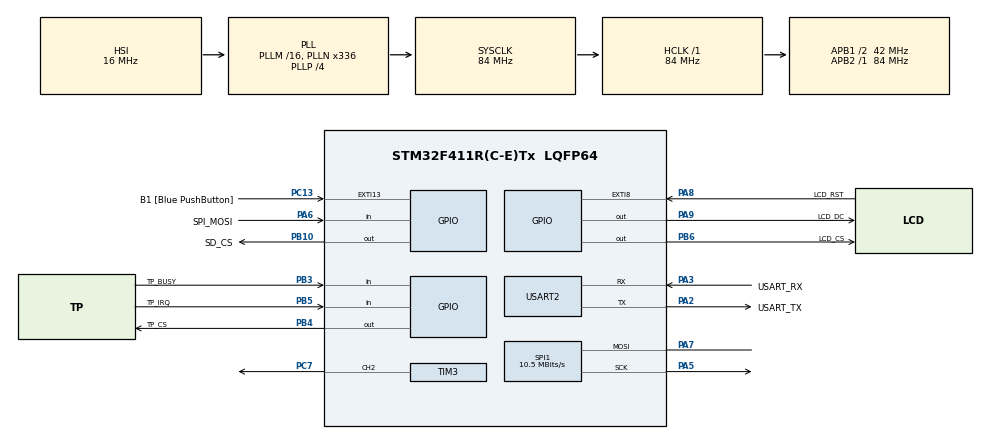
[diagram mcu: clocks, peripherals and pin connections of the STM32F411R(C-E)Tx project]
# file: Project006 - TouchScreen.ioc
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FATFS._MAX_SS=512
FATFS._USE_LFN=0
Mcu.Family=STM32F4
Mcu.Name=STM32F411R(C-E)Tx
Mcu.Package=LQFP64
NVIC.PriorityGroup=NVIC_PRIORITYGROUP_0
PA13.GPIO_Label=TMS
PA13.Mode=Serial_Wire
PA13.Signal=SYS_JTMS-SWDIO
PA14.GPIO_Label=TCK
PA14.Mode=Serial_Wire
PA14.Signal=SYS_JTCK-SWCLK
PA2.GPIO_Label=USART_TX
PA2.Mode=Asynchronous
PA2.Signal=USART2_TX
PA3.GPIO_Label=USART_RX
PA3.Mode=Asynchronous
PA3.Signal=USART2_RX
PA5.GPIO_Speed=GPIO_SPEED_FREQ_HIGH
PA5.Mode=Simplex_Bidirectional_Master
PA5.Signal=SPI1_SCK
PA6.GPIO_Label=SPI_MOSI
PA6.Signal=GPIO_Input
PA7.GPIO_Speed=GPIO_SPEED_FREQ_HIGH
PA7.Mode=Simplex_Bidirectional_Master
PA7.Signal=SPI1_MOSI
PA8.GPIO_Label=LCD_RST
PA8.Signal=GPXTI8
PA9.GPIO_Label=LCD_DC
PA9.Signal=GPIO_Output
PB10.GPIO_Label=SD_CS
PB10.PinState=GPIO_PIN_SET
PB10.Signal=GPIO_Output
PB3.GPIO_Label=TP_BUSY
PB3.Signal=GPIO_Input
PB4.GPIO_Label=TP_CS
PB4.Signal=GPIO_Output
PB5.GPIO_Label=TP_IRQ
PB5.Signal=GPIO_Input
PB6.GPIO_Label=LCD_CS
PB6.Signal=GPIO_Output
PC13-ANTI_TAMP.GPIO_Label=B1 [Blue PushButton]
PC13-ANTI_TAMP.GPIO_ModeDefaultEXTI=GPIO_MODE_IT_FALLING
PC13-ANTI_TAMP.Signal=GPXTI13
PC14-OSC32_IN.Mode=LSE-External-Oscillator
PC14-OSC32_IN.Signal=RCC_OSC32_IN
PC15-OSC32_OUT.Mode=LSE-External-Oscillator
PC15-OSC32_OUT.Signal=RCC_OSC32_OUT
PC7.Signal=S_TIM3_CH2
PH0\ -\ OSC_IN.Mode=HSE-External-Clock-Source
PH0\ -\ OSC_IN.Signal=RCC_OSC_IN
PH1\ -\ OSC_OUT.Mode=HSE-External-Clock-Source
PH1\ -\ OSC_OUT.Signal=RCC_OSC_OUT
ProjectManager.HeapSize=0x200
ProjectManager.StackSize=0x400
ProjectManager.TargetToolchain=STM32CubeIDE
RCC.48MHZClocksFreq_Value=84000000
RCC.AHBFreq_Value=84000000
RCC.APB1CLKDivider=RCC_HCLK_DIV2
RCC.APB1Freq_Value=42000000
RCC.APB1TimFreq_Value=84000000
RCC.APB2Freq_Value=84000000
RCC.APB2TimFreq_Value=84000000
RCC.CortexFreq_Value=84000000
RCC.FLatency-AdvancedSettings=FLASH_LATENCY_2
RCC.HCLKFreq_Value=84000000
RCC.HSE_VALUE=8000000
RCC.HSI_VALUE=16000000
RCC.PLLN=336
RCC.PLLP=RCC_PLLP_DIV4
RCC.SYSCLKFreq_VALUE=84000000
RCC.SYSCLKSource=RCC_SYSCLKSOURCE_PLLCLK
RCC.VCOOutputFreq_Value=336000000
SH.S_TIM3_CH2.0=TIM3_CH2,PWM Generation2 CH2
SPI1.BaudRatePrescaler=SPI_BAUDRATEPRESCALER_8
SPI1.CalculateBaudRate=10.5 MBits/s
SPI1.Direction=SPI_DIRECTION_1LINE
SPI1.Mode=SPI_MODE_MASTER
SPI1.VirtualType=VM_MASTER
TIM3.Channel-PWM\ Generation2\ CH2=TIM_CHANNEL_2
TIM3.Period=1000-1
TIM3.Prescaler=640-1
USART2.VirtualMode=VM_ASYNC
VP_FATFS_VS_Generic.Mode=User_defined
VP_TIM3_VS_ClockSourceINT.Mode=Internal
board=NUCLEO-F411RE

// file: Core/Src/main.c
/* USER CODE BEGIN Header */
/**
  ******************************************************************************
  * @file           : main.c
  * @brief          : Main program body
  ******************************************************************************
  * @attention
  *
  * Copyright (c) 2025 STMicroelectronics.
  * All rights reserved.
  *
  * This software is licensed under terms that can be found in the LICENSE file
  * in the root directory of this software component.
  * If no LICENSE file comes with this software, it is provided AS-IS.
  *
  ******************************************************************************
  */
/* USER CODE END Header */
#include "main.h"
#include "fatfs.h"

/* USER CODE BEGIN Includes */
#include <stdio.h>
#include <string.h>
#include "C:\Users\user\source\repos\4inch_lcd\Drivers\CMSIS\Include\cmsis_gcc.h"
#include"lcd_driver.h"
#include "lcd_gui.h"
#include "lcd_touch.h"
#include "fatfs_storage.h"
#include "lcd_showbmp.h"
//#include"C:\Users\user\Downloads\STM32 (1)\STM32\4inch_lcd\Core\Inc\spi.h"
/* USER CODE END Includes */

SPI_HandleTypeDef hspi1;

TIM_HandleTypeDef htim3;

UART_HandleTypeDef huart2;

void SystemClock_Config(void);
static void MX_GPIO_Init(void);
static void MX_USART2_UART_Init(void);
 void MX_SPI1_Init(void);
static void MX_TIM3_Init(void);

/* USER CODE BEGIN 0 */

//Restet Touch pannel

/* USER CODE END 0 */

int main(void)
{

  /* MCU Configuration--------------------------------------------------------*/

  /* Reset of all peripherals, Initializes the Flash interface and the Systick. */
  HAL_Init();

  /* Configure the system clock */
  SystemClock_Config();

  /* Initialize all configured peripherals */
  MX_GPIO_Init();
  MX_USART2_UART_Init();
  MX_SPI1_Init();
  MX_TIM3_Init();
  //MX_FATFS_Init();
  /* USER CODE BEGIN 2 */
	ProgramStart("Touch Screen");
	LCD_Clear(0xF800);
	TP_Init();
	Lcd_Init();

/* Check the mounted device */
	Gui_draw_line(10, 1, 10, 320, RED, 2, SOLID);

	Gui_draw_line(15, 1, 15, 320, ORANGE, 2, SOLID);
	Gui_draw_line(20, 1, 20, 320, YELLOW, 2, SOLID);
	Gui_draw_line(25, 1, 25, 320, GREEN, 2, SOLID);
	Gui_draw_line(30, 1, 30, 320, GBLUE, 2, SOLID);
	Gui_draw_line(35, 1, 35, 320, BLUE, 2, SOLID);
	Gui_draw_line(40, 1, 40, 320, PURPLE, 2, SOLID);
//
	Gui_draw_line(70, 10, 480, 10, BLACK, 1, SOLID);
	Gui_draw_line(70, 20, 480, 20, RED, 2, DOTTED);
	Gui_draw_line(70, 30, 480, 30, YELLOW, 3, SOLID);
	Gui_draw_line(70, 40, 480, 40, MAGENTA, 4, DOTTED);
//
	Gui_draw_rectangle(70, 80, 100, 120, RED, 1, EMPTY);
	Gui_draw_rectangle(110, 80, 140, 120, GREEN, 1, EMPTY);
	Gui_draw_rectangle(150, 80, 180, 120, BLUE, 1, EMPTY);

	Gui_fill_color(220, 80, 260, 120, RED);
	Gui_fill_color(290, 80, 330, 120, GREEN);
	Gui_fill_color(360, 80, 400, 120, BLUE);
//
	Gui_draw_circle(370, 180, 20, GREEN, 1, FULL);
	Gui_draw_circle(370, 180, 30, RED, 2, EMPTY);
	Gui_draw_circle(370, 180, 40, BLUE, 3, EMPTY);

	Gui_draw_str(80, 160, "0123456789", &Font24, BLACK, WHITE);
	Gui_draw_str(80, 195, "SEENGREAT!", &Font24, RED, WHITE);
	Gui_draw_str(80, 230, "www.seengreat.com", &Font24, BLUE, WHITE);
	Gui_draw_str(80, 265, "4inch LCD Display!", &Font24, RED, WHITE);

	HAL_Delay(2000);
	//SD_Init();
	//display_images();

	Load_Touch_Draw();

  /* USER CODE END 2 */

  /* Infinite loop */
  /* USER CODE BEGIN WHILE */
  while (1)
  {
	  TP_test();
    /* USER CODE END WHILE */

  }
}

void SystemClock_Config(void)
{
  RCC_OscInitTypeDef RCC_OscInitStruct = {0};
  RCC_ClkInitTypeDef RCC_ClkInitStruct = {0};

  /** Configure the main internal regulator output voltage
  */
  __HAL_RCC_PWR_CLK_ENABLE();
  __HAL_PWR_VOLTAGESCALING_CONFIG(PWR_REGULATOR_VOLTAGE_SCALE1);

  /** Initializes the RCC Oscillators according to the specified parameters
  * in the RCC_OscInitTypeDef structure.
  */
  RCC_OscInitStruct.OscillatorType = RCC_OSCILLATORTYPE_HSI;
  RCC_OscInitStruct.HSIState = RCC_HSI_ON;
  RCC_OscInitStruct.HSICalibrationValue = RCC_HSICALIBRATION_DEFAULT;
  RCC_OscInitStruct.PLL.PLLState = RCC_PLL_ON;
  RCC_OscInitStruct.PLL.PLLSource = RCC_PLLSOURCE_HSI;
  RCC_OscInitStruct.PLL.PLLM = 16;
  RCC_OscInitStruct.PLL.PLLN = 336;
  RCC_OscInitStruct.PLL.PLLP = RCC_PLLP_DIV4;
  RCC_OscInitStruct.PLL.PLLQ = 4;
  if (HAL_RCC_OscConfig(&RCC_OscInitStruct) != HAL_OK)
  {
    Error_Handler();
  }

  /** Initializes the CPU, AHB and APB buses clocks
  */
  RCC_ClkInitStruct.ClockType = RCC_CLOCKTYPE_HCLK|RCC_CLOCKTYPE_SYSCLK
                              |RCC_CLOCKTYPE_PCLK1|RCC_CLOCKTYPE_PCLK2;
  RCC_ClkInitStruct.SYSCLKSource = RCC_SYSCLKSOURCE_PLLCLK;
  RCC_ClkInitStruct.AHBCLKDivider = RCC_SYSCLK_DIV1;
  RCC_ClkInitStruct.APB1CLKDivider = RCC_HCLK_DIV2;
  RCC_ClkInitStruct.APB2CLKDivider = RCC_HCLK_DIV1;

  if (HAL_RCC_ClockConfig(&RCC_ClkInitStruct, FLASH_LATENCY_2) != HAL_OK)
  {
    Error_Handler();
  }
}

 void MX_SPI1_Init(void)
{

  /* SPI1 parameter configuration*/
  hspi1.Instance = SPI1;
  hspi1.Init.Mode = SPI_MODE_MASTER;
  hspi1.Init.Direction = SPI_DIRECTION_1LINE;
  hspi1.Init.DataSize = SPI_DATASIZE_8BIT;
  hspi1.Init.CLKPolarity = SPI_POLARITY_LOW;
  hspi1.Init.CLKPhase = SPI_PHASE_1EDGE;
  hspi1.Init.NSS = SPI_NSS_SOFT;
  hspi1.Init.BaudRatePrescaler = SPI_BAUDRATEPRESCALER_8;
  hspi1.Init.FirstBit = SPI_FIRSTBIT_MSB;
  hspi1.Init.TIMode = SPI_TIMODE_DISABLE;
  hspi1.Init.CRCCalculation = SPI_CRCCALCULATION_DISABLE;
  hspi1.Init.CRCPolynomial = 10;
  if (HAL_SPI_Init(&hspi1) != HAL_OK)
  {
    Error_Handler();
  }

}

static void MX_TIM3_Init(void)
{

  TIM_ClockConfigTypeDef sClockSourceConfig = {0};
  TIM_MasterConfigTypeDef sMasterConfig = {0};
  TIM_OC_InitTypeDef sConfigOC = {0};

  htim3.Instance = TIM3;
  htim3.Init.Prescaler = 640-1;
  htim3.Init.CounterMode = TIM_COUNTERMODE_UP;
  htim3.Init.Period = 1000-1;
  htim3.Init.ClockDivision = TIM_CLOCKDIVISION_DIV1;
  htim3.Init.AutoReloadPreload = TIM_AUTORELOAD_PRELOAD_DISABLE;
  if (HAL_TIM_Base_Init(&htim3) != HAL_OK)
  {
    Error_Handler();
  }
  sClockSourceConfig.ClockSource = TIM_CLOCKSOURCE_INTERNAL;
  if (HAL_TIM_ConfigClockSource(&htim3, &sClockSourceConfig) != HAL_OK)
  {
    Error_Handler();
  }
  if (HAL_TIM_PWM_Init(&htim3) != HAL_OK)
  {
    Error_Handler();
  }
  sMasterConfig.MasterOutputTrigger = TIM_TRGO_RESET;
  sMasterConfig.MasterSlaveMode = TIM_MASTERSLAVEMODE_DISABLE;
  if (HAL_TIMEx_MasterConfigSynchronization(&htim3, &sMasterConfig) != HAL_OK)
  {
    Error_Handler();
  }
  sConfigOC.OCMode = TIM_OCMODE_PWM1;
  sConfigOC.Pulse = 0;
  sConfigOC.OCPolarity = TIM_OCPOLARITY_HIGH;
  sConfigOC.OCFastMode = TIM_OCFAST_DISABLE;
  if (HAL_TIM_PWM_ConfigChannel(&htim3, &sConfigOC, TIM_CHANNEL_2) != HAL_OK)
  {
    Error_Handler();
  }
  HAL_TIM_MspPostInit(&htim3);

}

static void MX_USART2_UART_Init(void)
{

  huart2.Instance = USART2;
  huart2.Init.BaudRate = 115200;
  huart2.Init.WordLength = UART_WORDLENGTH_8B;
  huart2.Init.StopBits = UART_STOPBITS_1;
  huart2.Init.Parity = UART_PARITY_NONE;
  huart2.Init.Mode = UART_MODE_TX_RX;
  huart2.Init.HwFlowCtl = UART_HWCONTROL_NONE;
  huart2.Init.OverSampling = UART_OVERSAMPLING_16;
  if (HAL_UART_Init(&huart2) != HAL_OK)
  {
    Error_Handler();
  }

}

static void MX_GPIO_Init(void)
{
  GPIO_InitTypeDef GPIO_InitStruct = {0};

  /* GPIO Ports Clock Enable */
  __HAL_RCC_GPIOC_CLK_ENABLE();
  __HAL_RCC_GPIOH_CLK_ENABLE();
  __HAL_RCC_GPIOA_CLK_ENABLE();
  __HAL_RCC_GPIOB_CLK_ENABLE();

  /*Configure GPIO pin Output Level */
  HAL_GPIO_WritePin(SD_CS_GPIO_Port, SD_CS_Pin, GPIO_PIN_SET);

  /*Configure GPIO pin Output Level */
  HAL_GPIO_WritePin(LCD_DC_GPIO_Port, LCD_DC_Pin, GPIO_PIN_RESET);

  /*Configure GPIO pin Output Level */
  HAL_GPIO_WritePin(GPIOB, TP_CS_Pin|LCD_CS_Pin, GPIO_PIN_RESET);

  /*Configure GPIO pin : B1_Pin */
  GPIO_InitStruct.Pin = B1_Pin;
  GPIO_InitStruct.Mode = GPIO_MODE_IT_FALLING;
  GPIO_InitStruct.Pull = GPIO_NOPULL;
  HAL_GPIO_Init(B1_GPIO_Port, &GPIO_InitStruct);

  /*Configure GPIO pin : SPI_MOSI_Pin */
  GPIO_InitStruct.Pin = SPI_MOSI_Pin;
  GPIO_InitStruct.Mode = GPIO_MODE_INPUT;
  GPIO_InitStruct.Pull = GPIO_NOPULL;
  HAL_GPIO_Init(SPI_MOSI_GPIO_Port, &GPIO_InitStruct);

  /*Configure GPIO pins : SD_CS_Pin TP_CS_Pin LCD_CS_Pin */
  GPIO_InitStruct.Pin = SD_CS_Pin|TP_CS_Pin|LCD_CS_Pin;
  GPIO_InitStruct.Mode = GPIO_MODE_OUTPUT_PP;
  GPIO_InitStruct.Pull = GPIO_NOPULL;
  GPIO_InitStruct.Speed = GPIO_SPEED_FREQ_LOW;
  HAL_GPIO_Init(GPIOB, &GPIO_InitStruct);

  /*Configure GPIO pin : LCD_RST_Pin */
  GPIO_InitStruct.Pin = LCD_RST_Pin;
  GPIO_InitStruct.Mode = GPIO_MODE_IT_RISING;
  GPIO_InitStruct.Pull = GPIO_NOPULL;
  HAL_GPIO_Init(LCD_RST_GPIO_Port, &GPIO_InitStruct);

  /*Configure GPIO pin : LCD_DC_Pin */
  GPIO_InitStruct.Pin = LCD_DC_Pin;
  GPIO_InitStruct.Mode = GPIO_MODE_OUTPUT_PP;
  GPIO_InitStruct.Pull = GPIO_NOPULL;
  GPIO_InitStruct.Speed = GPIO_SPEED_FREQ_LOW;
  HAL_GPIO_Init(LCD_DC_GPIO_Port, &GPIO_InitStruct);

  /*Configure GPIO pins : TP_BUSY_Pin TP_IRQ_Pin */
  GPIO_InitStruct.Pin = TP_BUSY_Pin|TP_IRQ_Pin;
  GPIO_InitStruct.Mode = GPIO_MODE_INPUT;
  GPIO_InitStruct.Pull = GPIO_NOPULL;
  HAL_GPIO_Init(GPIOB, &GPIO_InitStruct);

}

void Error_Handler(void)
{
  __disable_irq();
  while (1)
  {
  }
}
